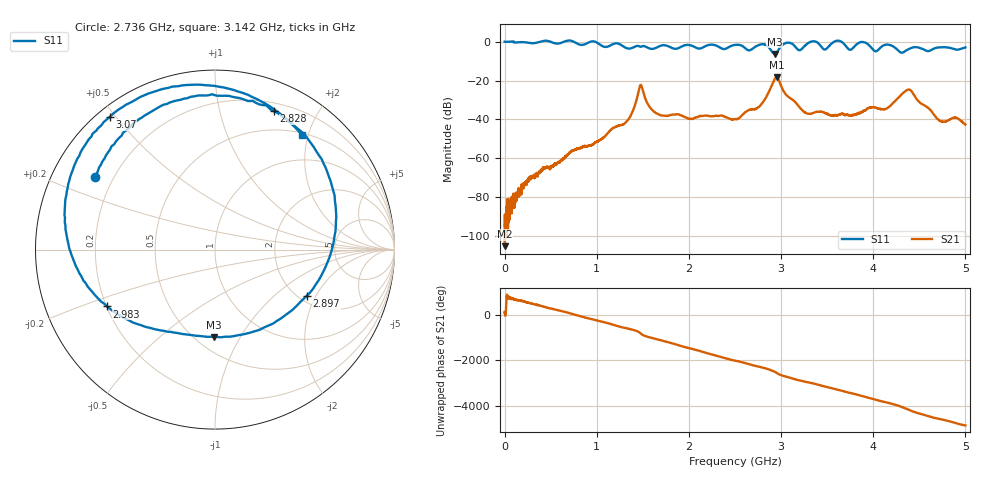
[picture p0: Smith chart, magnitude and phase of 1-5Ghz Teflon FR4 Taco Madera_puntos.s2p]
! NanoVNA-App
! Date: 2025-10-30 20:53:55
! Start: 10kHz Stop: 5GHz Points: 3201
! S-Parameter data: F S11 S21 S12 S22
# Hz S RI R 50
!  Frequency  S11_Real  S11_Imag  S21_Real  S21_Imag  S12_Real  S12_Imag  S22_Real  S22_Imag
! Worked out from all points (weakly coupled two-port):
!   3201 points, 10 kHz to 5 GHz, reference 50 ohm
!   highest |S21| = -18.24 dB at 2.952 GHz (marker M1); lowest = -105.4 dB at 10 kHz (marker M2)
!   lowest |S11| = -6.3 dB at 2.933 GHz (marker M3), VSWR 2.89, Z = 30.6 - j38.9 ohm
!   |S11| at or under -10 dB: nowhere
!   S12 and S22 are empty: the file has one direction only
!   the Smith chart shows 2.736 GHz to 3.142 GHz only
!   S11 on the Smith chart (normalised r, x): 2.736 GHz: 0.13, +0.27; 2.828 GHz: 0.28, +1.47; 2.897 GHz: 2.21, -1.69; 2.983 GHz: 0.20, -0.24; 3.07 GHz: 0.04, +0.48; 3.142 GHz: 0.53, +1.89
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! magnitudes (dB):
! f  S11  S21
! 10 kHz  0.0  -105.4
! 834.4 MHz  -1.6  -54.4
! 1.319 GHz  -3.2  -41.3
! 1.475 GHz  -2.6  -22.3
! 1.667 GHz  -2.6  -37.3
! 2.5 GHz  -1.6  -39.8
! 2.736 GHz  -2.2  -34.2
! 2.828 GHz  -1.5  -29.4
! 2.897 GHz  -4.8  -22.9
! 2.933 GHz  -6.3  -19.1
! 2.952 GHz  -5.7  -18.2
! 2.983 GHz  -3.3  -20.7
! 3.07 GHz  -0.5  -28.1
! 3.142 GHz  -1.9  -30.5
! 3.334 GHz  0.2  -36.9
! 3.473 GHz  -4.0  -36.8
! 3.611 GHz  0.6  -37.9
! 3.748 GHz  -4.2  -37.8
! 4.167 GHz  -1.5  -33.7
! 4.389 GHz  -3.7  -24.6
! 4.72 GHz  -2.9  -40.7
! 5 GHz  -2.9  -42.7
